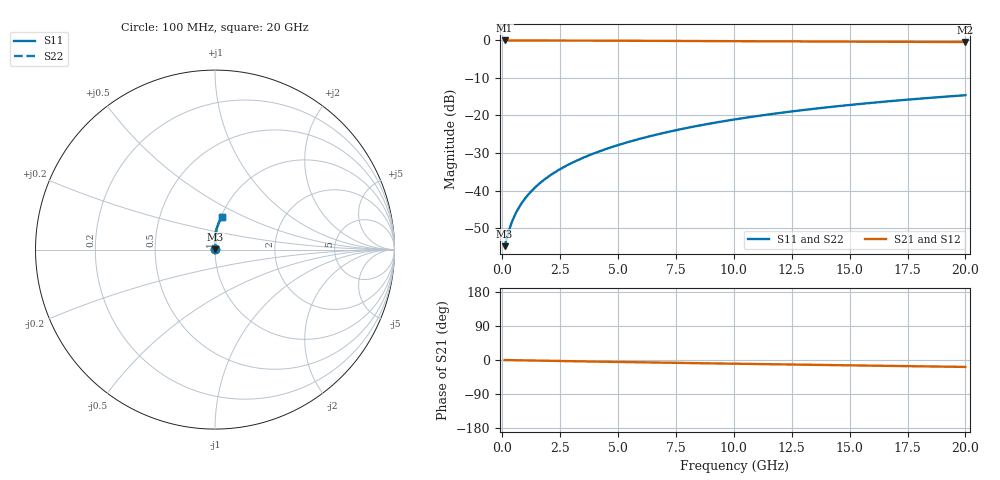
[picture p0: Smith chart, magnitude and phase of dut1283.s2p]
! Touchstone file exported from HFSS 2024.1.0
!  File:  C:/UserFiles/LocalFiles/RDL_TSV_Batchsim/temp_RDL_bottom_1283_1780246729.aedt
!  Generated:  01:01:25 AM Jun  1, 2026
!  Design:  RDL_bottom
!  Project:  temp_RDL_bottom_1283_1780246729
!  Setup:  Setup1
!  Solution:  Sweep
! Variables:
!  dtsv = 10.80580581um
!  hbump = 3um
!  htsv = 89.99um
!  ldown = 229.11um
!  lrdl = 100um
!  p = 40
!  p1 = 50.77um
!  rhole = 1um
!  t = 450um
!  tdown = 2.49um
!  trdl = 3.915915916um
!  wdown = 26.17um
!  wrdl = 20um
# GHz S MA R 50.000000
! Terminal data exported
! Port[1] = RDL1_T1
! Port[2] = RDL1_T2
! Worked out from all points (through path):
!   200 points, 100 MHz to 20 GHz, reference 50 ohm
!   highest |S21| = -0.01 dB at 100 MHz (marker M1); lowest = -0.4 dB at 20 GHz (marker M2)
!   group delay of S21, straight-line fit = 2.51 ps
!   lowest |S11| = -54.8 dB at 100 MHz (marker M3), VSWR 1.00, Z = 50.2 + j0.0858 ohm
!   |S11| at or under -10 dB: start of sweep to end of sweep
!   |S22| runs from -54.8 to -14.6 dB; largest |S21 - S12| = 5.1e-15
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0.1  0.001815 28.1  0.9984 -0.1  0.9984 -0.1  0.001815 28.1
! Gamma 0 0 0 0
! Port Impedance 50 0 50 0
0.3  0.003021 55.4  0.9982 -0.3  0.9982 -0.3  0.003021 55.4
0.4  0.00371 61.4  0.9981 -0.4  0.9981 -0.4  0.00371 61.4
0.5  0.004407 65.6  0.998 -0.6  0.998 -0.6  0.004407 65.6
0.6  0.005107 68.8  0.998 -0.7  0.998 -0.7  0.005107 68.8
0.8  0.00652 73.3  0.9978 -0.9  0.9978 -0.9  0.00652 73.3
1  0.007953 76.4  0.9976 -1.1  0.9976 -1.1  0.007953 76.4
1.2  0.009407 78.8  0.9974 -1.3  0.9974 -1.3  0.009407 78.8
1.4  0.01088 80.6  0.9972 -1.5  0.9972 -1.5  0.01088 80.6
1.7  0.01313 82.7  0.9969 -1.8  0.9969 -1.8  0.01313 82.7
2.2  0.01695 85.1  0.9962 -2.3  0.9962 -2.3  0.01695 85.1
2.8  0.02168 87.0  0.9952 -3.0  0.9952 -3.0  0.02168 87.0
3.5  0.02739 88.5  0.9939 -3.7  0.9939 -3.7  0.02739 88.5
4.2  0.03331 89.4  0.9923 -4.4  0.9923 -4.4  0.03331 89.4
5  0.04033 90.0  0.9904 -5.2  0.9904 -5.2  0.04033 90.0
6.8  0.05695 90.2  0.9856 -6.9  0.9856 -6.9  0.05695 90.2
8.4  0.07242 89.4  0.9812 -8.4  0.9812 -8.4  0.07241 89.4
10.1  0.08924 88.1  0.9766 -9.9  0.9766 -9.9  0.08924 88.1
11.7  0.1052 86.6  0.9723 -11.3  0.9723 -11.3  0.1052 86.6
13.4  0.1222 84.9  0.9678 -12.7  0.9678 -12.7  0.1222 84.9
16.7  0.1547 81.5  0.9592 -15.5  0.9592 -15.5  0.1547 81.5
20  0.1863 78.2  0.9506 -18.3  0.9506 -18.3  0.1862 78.2
